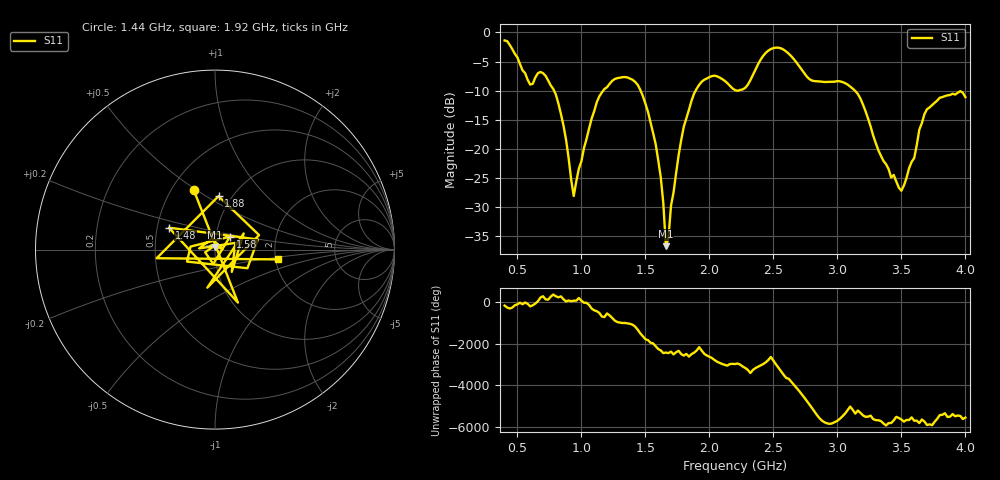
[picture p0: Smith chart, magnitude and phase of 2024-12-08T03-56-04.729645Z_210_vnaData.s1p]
!Created with skrf (http://scikit-rf.org).
# Hz S RI R 50.0
!freq ReS11 ImS11
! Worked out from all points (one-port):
!   181 points, 400 MHz to 4 GHz, reference 50 ohm
!   lowest |S11| = -36.7 dB at 1.66 GHz (marker M1), VSWR 1.03, Z = 49.9 + j1.46 ohm
!   |S11| at or under -10 dB: 786.5 MHz to 1.17 GHz (383.3 MHz wide, 39.2 % of centre); 1.463 GHz to 1.892 GHz (429.4 MHz wide, 25.6 % of centre); 3.137 GHz to end of sweep (the widest 3 of 4)
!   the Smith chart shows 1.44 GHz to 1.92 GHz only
!   S11 on the Smith chart (normalised r, x): 1.44 GHz: 0.64, +0.49; 1.48 GHz: 0.58, +0.15; 1.58 GHz: 1.17, +0.17; 1.88 GHz: 0.87, +0.57; 1.92 GHz: 2.06, -0.26
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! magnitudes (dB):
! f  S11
! 400 MHz  -1.4
! 600 MHz  -9.0
! 720 MHz  -7.4
! 860 MHz  -16.0
! 940 MHz  -28.1
! 1.12 GHz  -12.0
! 1.3 GHz  -7.8
! 1.44 GHz  -9.0
! 1.48 GHz  -10.9
! 1.58 GHz  -19.1
! 1.62 GHz  -24.9
! 1.66 GHz  -36.7
! 1.68 GHz  -35.3
! 1.76 GHz  -21.0
! 1.88 GHz  -10.5
! 1.92 GHz  -9.0
! 2.04 GHz  -7.4
! 2.2 GHz  -9.9
! 2.48 GHz  -2.8
! 2.66 GHz  -4.6
! 2.8 GHz  -8.2
! 3.1 GHz  -9.3
! 3.18 GHz  -11.4
! 3.42 GHz  -24.9
! 3.5 GHz  -27.2
! 3.56 GHz  -23.3
! 3.7 GHz  -13.2
! 4 GHz  -11.1
